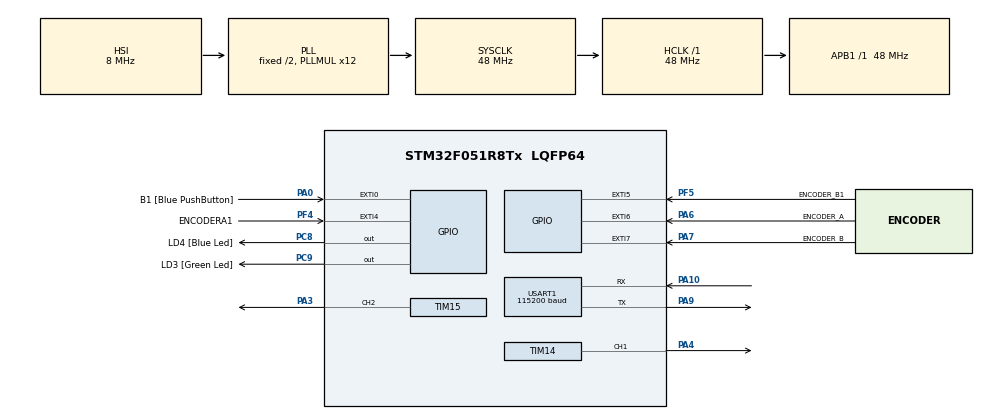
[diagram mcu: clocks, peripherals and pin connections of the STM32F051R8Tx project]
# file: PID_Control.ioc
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Mcu.Family=STM32F0
Mcu.Name=STM32F051R8Tx
Mcu.Package=LQFP64
NVIC.EXTI4_15_IRQn=true\:3\:0\:true\:false\:true
NVIC.TIM6_DAC_IRQn=true\:0\:0\:false\:false\:true
NVIC.USART1_IRQn=true\:0\:0\:false\:false\:true
PA0.GPIO_Label=B1 [Blue PushButton]
PA0.GPIO_ModeDefaultEXTI=GPIO_MODE_EVT_RISING
PA0.Signal=GPXTI0
PA10.Mode=Asynchronous
PA10.Signal=USART1_RX
PA13.GPIO_Label=SWDIO
PA13.Signal=SYS_SWDIO
PA14.GPIO_Label=SWCLK
PA14.Signal=SYS_SWCLK
PA3.Signal=S_TIM15_CH2
PA4.Signal=S_TIM14_CH1
PA6.GPIO_Label=ENCODER_A
PA6.GPIO_ModeDefaultEXTI=GPIO_MODE_IT_RISING_FALLING
PA6.Signal=GPXTI6
PA7.GPIO_Label=ENCODER_B
PA7.GPIO_ModeDefaultEXTI=GPIO_MODE_IT_RISING_FALLING
PA7.Signal=GPXTI7
PA9.Mode=Asynchronous
PA9.Signal=USART1_TX
PC8.GPIO_Label=LD4 [Blue Led]
PC8.Signal=GPIO_Output
PC9.GPIO_Label=LD3 [Green Led]
PC9.Signal=GPIO_Output
PF4.GPIO_Label=ENCODERA1
PF4.GPIO_ModeDefaultEXTI=GPIO_MODE_IT_RISING_FALLING
PF4.Signal=GPXTI4
PF5.GPIO_Label=ENCODER_B1
PF5.GPIO_ModeDefaultEXTI=GPIO_MODE_IT_RISING_FALLING
PF5.Signal=GPXTI5
ProjectManager.HeapSize=0x200
ProjectManager.StackSize=0x400
ProjectManager.TargetToolchain=SW4STM32
RCC.AHBFreq_Value=48000000
RCC.APB1Freq_Value=48000000
RCC.APB1TimFreq_Value=48000000
RCC.HCLKFreq_Value=48000000
RCC.PLLMUL=RCC_PLL_MUL12
RCC.SYSCLKFreq_VALUE=48000000
RCC.SYSCLKSource=RCC_SYSCLKSOURCE_PLLCLK
SH.S_TIM14_CH1.0=TIM14_CH1,PWM Generation1 CH1
SH.S_TIM15_CH2.0=TIM15_CH2,PWM Generation2 CH2
TIM14.Channel=TIM_CHANNEL_1
TIM14.Period=0x08ff
TIM14.Prescaler=0
TIM14.Pulse=0x0
TIM15.Channel-PWM\ Generation2\ CH2=TIM_CHANNEL_2
TIM15.Period=0x8ff
TIM2.Period=0xffffffff
TIM2.Prescaler=47
TIM6.Period=10000
TIM6.Prescaler=47
USART1.BaudRate=115200
USART1.VirtualMode-Asynchronous=VM_ASYNC
VP_TIM14_VS_ClockSourceINT.Mode=Enable_Timer
VP_TIM2_VS_ClockSourceINT.Mode=Internal
VP_TIM6_VS_ClockSourceINT.Mode=Enable_Timer
board=STM32F0DISCOVERY

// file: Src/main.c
/**
  ******************************************************************************
  * File Name          : main.c
  * Description        : Main program body
  ******************************************************************************
  ** This notice applies to any and all portions of this file
  * that are not between comment pairs USER CODE BEGIN and
  * USER CODE END. Other portions of this file, whether
  * inserted by the user or by software development tools
  * are owned by their respective copyright owners.
  *
  * COPYRIGHT(c) 2017 STMicroelectronics
  *
  * Redistribution and use in source and binary forms, with or without modification,
  * are permitted provided that the following conditions are met:
  *   1. Redistributions of source code must retain the above copyright notice,
  *      this list of conditions and the following disclaimer.
  *   2. Redistributions in binary form must reproduce the above copyright notice,
  *      this list of conditions and the following disclaimer in the documentation
  *      and/or other materials provided with the distribution.
  *   3. Neither the name of STMicroelectronics nor the names of its contributors
  *      may be used to endorse or promote products derived from this software
  *      without specific prior written permission.
  *
  * THIS SOFTWARE IS PROVIDED BY THE COPYRIGHT HOLDERS AND CONTRIBUTORS "AS IS"
  * AND ANY EXPRESS OR IMPLIED WARRANTIES, INCLUDING, BUT NOT LIMITED TO, THE
  * IMPLIED WARRANTIES OF MERCHANTABILITY AND FITNESS FOR A PARTICULAR PURPOSE ARE
  * DISCLAIMED. IN NO EVENT SHALL THE COPYRIGHT HOLDER OR CONTRIBUTORS BE LIABLE
  * FOR ANY DIRECT, INDIRECT, INCIDENTAL, SPECIAL, EXEMPLARY, OR CONSEQUENTIAL
  * DAMAGES (INCLUDING, BUT NOT LIMITED TO, PROCUREMENT OF SUBSTITUTE GOODS OR
  * SERVICES; LOSS OF USE, DATA, OR PROFITS; OR BUSINESS INTERRUPTION) HOWEVER
  * CAUSED AND ON ANY THEORY OF LIABILITY, WHETHER IN CONTRACT, STRICT LIABILITY,
  * OR TORT (INCLUDING NEGLIGENCE OR OTHERWISE) ARISING IN ANY WAY OUT OF THE USE
  * OF THIS SOFTWARE, EVEN IF ADVISED OF THE POSSIBILITY OF SUCH DAMAGE.
  *
  ******************************************************************************
  */
#include "main.h"
#include "stm32f0xx_hal.h"
#include "tim.h"
#include "usart.h"
#include "gpio.h"

/* USER CODE BEGIN Includes */
#include <stdbool.h>
#include <stdlib.h>
#include "PuttyInterface.h"
#include "pid.h"
#include "encoder.h"
/* USER CODE END Includes */

/* USER CODE BEGIN PV */
/* Private variables ---------------------------------------------------------*/
#define AMOUNT_OF_MOTORS 4

// print to screen
bool print_time = false;
bool print_encoder = false;
bool print_speed = false;
bool print_dac = false;
bool print_pid = false;
uint32_t prev_tick = 0;// Counter for the frequency at which to report

//values for puttyinterface
uint8_t rec_buf[8];
char small_buf;
bool huart2_Rx_flag = false;

typedef struct{
	encoder_HandleTypeDef* encoder;
	PID_controller_HandleTypeDef* PID;
}motor_HandleTypeDef;// holds an encoder and pid controller that belong together

encoder_HandleTypeDef encoder0 = {
		.CHANNEL = {ENCODER_A_Pin,ENCODER_B_Pin},
		.CHANNEL_Port = {ENCODER_A_GPIO_Port, ENCODER_B_GPIO_Port},
		.MeasurementTimer = &htim2,
		.cnt = {0,0},
		.high = {false, false},
		.direction = 0,
		.period = 0xffff,
		.last_tim_sample = 0xFFFFFFFF,
		.prev_tim_sample = 0,
		.speed = 0.0F,
		.COUNTS_PER_ROTATION = 12.0F,
		.CLK_FREQUENCY = 48000000.0F,
		.GEAR_RATIO = 10.0F,
};
PID_controller_HandleTypeDef pc0 = {
		.pid = {0,0,0},
		.K_terms = {1000.0F, 10.0F, .1F},
		.ref = 0.0F,
		.timestep = 0.0F,
		.actuator = &htim14,
		.actuator_channel = TIM_CHANNEL_1,
		.CallbackTimer = &htim6,
		.CLK_FREQUENCY = 48000000.0F,
		.current_pwm = 0,
};

motor_HandleTypeDef motors[AMOUNT_OF_MOTORS];

/* USER CODE END PV */

void SystemClock_Config(void);

/* USER CODE BEGIN PFP */
/* Private function prototypes -----------------------------------------------*/
void HandleCommand(char * input);

/* USER CODE END PFP */

int main(void)
{

  /* MCU Configuration----------------------------------------------------------*/

  /* Reset of all peripherals, Initializes the Flash interface and the Systick. */
  HAL_Init();

  /* Configure the system clock */
  SystemClock_Config();

  /* Initialize all configured peripherals */
  MX_GPIO_Init();
  MX_USART1_UART_Init();
  MX_TIM2_Init();
  MX_TIM6_Init();
  MX_TIM14_Init();
  MX_TIM15_Init();

  /* USER CODE BEGIN 2 */

  motors[0].PID = &pc0;
  motors[0].encoder = &encoder0;
  pid_Init(motors[0].PID, AMOUNT_OF_MOTORS);
  encoder_Init(motors[0].encoder);

  char * startmessage = "---------------------\n\r";
  uprintf(startmessage);
  HAL_UART_Receive_IT(&huart1, rec_buf, 1);
  /* USER CODE END 2 */

  /* Infinite loop */
  /* USER CODE BEGIN WHILE */
  while (1)
  {
		if(HAL_GetTick() > prev_tick + 100){
			prev_tick = HAL_GetTick();

			if(print_dac){
				uprintf("v_ref = [%f], current_pwm = [%d]\n\r", motors[0].PID->ref, pid_GetCurrentOutput(motors[0].PID));
			}
			if(print_time){
				uprintf("htim2 CNT = [%ld];\n\r", __HAL_TIM_GET_COUNTER(&htim2));
			}
			if(print_encoder){
				uprintf("encoder readings are = [%ld, %ld, %i, %d, %d];\n\r", motors[0].encoder->cnt[0] + motors[0].encoder->cnt[1], motors[0].encoder->period, motors[0].encoder->direction, motors[0].encoder->high[0], motors[0].encoder->high[1]);
			}
			if(print_speed){
				uprintf("encoder speed = [%f];\n\r", encoder_GetLatestSpeed(motors[0].encoder));
			}
			if(print_pid){
				PID pid = pid_GetCurrentPIDValues(motors[0].PID);
				uprintf("PID = [%f, %f, %f]\n\r", pid.P, pid.I, pid.D);
			}
		}

		if(huart2_Rx_flag){
			huart2_Rx_flag = false;
			HandlePcInput(&small_buf, 1, HandleCommand);
			HAL_UART_Receive_IT(&huart1, rec_buf, 1);
		}
  /* USER CODE END WHILE */

  }

}

/** System Clock Configuration
*/
void SystemClock_Config(void)
{

  RCC_OscInitTypeDef RCC_OscInitStruct;
  RCC_ClkInitTypeDef RCC_ClkInitStruct;
  RCC_PeriphCLKInitTypeDef PeriphClkInit;

    /**Initializes the CPU, AHB and APB busses clocks
    */
  RCC_OscInitStruct.OscillatorType = RCC_OSCILLATORTYPE_HSI;
  RCC_OscInitStruct.HSIState = RCC_HSI_ON;
  RCC_OscInitStruct.HSICalibrationValue = 16;
  RCC_OscInitStruct.PLL.PLLState = RCC_PLL_ON;
  RCC_OscInitStruct.PLL.PLLSource = RCC_PLLSOURCE_HSI;
  RCC_OscInitStruct.PLL.PLLMUL = RCC_PLL_MUL12;
  RCC_OscInitStruct.PLL.PREDIV = RCC_PREDIV_DIV1;
  if (HAL_RCC_OscConfig(&RCC_OscInitStruct) != HAL_OK)
  {
    _Error_Handler(__FILE__, __LINE__);
  }

    /**Initializes the CPU, AHB and APB busses clocks
    */
  RCC_ClkInitStruct.ClockType = RCC_CLOCKTYPE_HCLK|RCC_CLOCKTYPE_SYSCLK
                              |RCC_CLOCKTYPE_PCLK1;
  RCC_ClkInitStruct.SYSCLKSource = RCC_SYSCLKSOURCE_PLLCLK;
  RCC_ClkInitStruct.AHBCLKDivider = RCC_SYSCLK_DIV1;
  RCC_ClkInitStruct.APB1CLKDivider = RCC_HCLK_DIV1;

  if (HAL_RCC_ClockConfig(&RCC_ClkInitStruct, FLASH_LATENCY_1) != HAL_OK)
  {
    _Error_Handler(__FILE__, __LINE__);
  }

  PeriphClkInit.PeriphClockSelection = RCC_PERIPHCLK_USART1;
  PeriphClkInit.Usart1ClockSelection = RCC_USART1CLKSOURCE_PCLK1;
  if (HAL_RCCEx_PeriphCLKConfig(&PeriphClkInit) != HAL_OK)
  {
    _Error_Handler(__FILE__, __LINE__);
  }

    /**Configure the Systick interrupt time
    */
  HAL_SYSTICK_Config(HAL_RCC_GetHCLKFreq()/1000);

    /**Configure the Systick
    */
  HAL_SYSTICK_CLKSourceConfig(SYSTICK_CLKSOURCE_HCLK);

  /* SysTick_IRQn interrupt configuration */
  HAL_NVIC_SetPriority(SysTick_IRQn, 0, 0);
}

/* USER CODE BEGIN 4 */
void HandleCommand(char * input){
	HAL_GPIO_TogglePin(LD3_GPIO_Port, LD3_Pin);
	if(!strcmp(input, "time")){
		print_time = !print_time;
	}else if(!strcmp(input, "encoder")){
		print_encoder = !print_encoder;
	}else if(!strcmp(input, "speed")){
		print_speed = !print_speed;
	}else if(!strcmp(input, "pid")){
		print_pid = !print_pid;
	}else if(!memcmp(input, "dac", 3)){
		char * ptr;
		pid_SetOutput(strtol(input+4, &ptr, 10), motors[0].PID);
	}else if(!memcmp(input, "ref", 3)){
		pid_SetReference(atof(input+4), motors[0].PID);
	}else if(!strcmp(input, "printdac")){
		print_dac = !print_dac;
	}else if(!memcmp(input, "set kp", 5)){
		motors[0].PID->K_terms.Kp = atof(input+6);
	}else if(!memcmp(input, "set ki", 5)){
		motors[0].PID->K_terms.Ki = atof(input+6);
	}else if(!memcmp(input, "set kd", 5)){
		motors[0].PID->K_terms.Kd = atof(input+6);
	}
}
void HAL_UART_RxCpltCallback(UART_HandleTypeDef *huart){
	HAL_GPIO_TogglePin(LD4_GPIO_Port, LD4_Pin);
	if(huart->Instance == huart1.Instance){
		huart2_Rx_flag = true;
		small_buf = *(huart->pRxBuffPtr-1);
	}
}

void HAL_GPIO_EXTI_Callback(uint16_t GPIO_Pin)
{
  /* Prevent unused argument(s) compilation warning */
  UNUSED(GPIO_Pin);
  encoder_Input(GPIO_Pin, motors[0].encoder);
}
void HAL_TIM_PeriodElapsedCallback(TIM_HandleTypeDef *htim) {
	static uint32_t motor_ptr = 0;
    pid_Control(encoder_CalculateSpeed(motors[motor_ptr].encoder), motors[motor_ptr].PID);
    motor_ptr = (motor_ptr + 1) % AMOUNT_OF_MOTORS;
}
/* USER CODE END 4 */

void _Error_Handler(char * file, int line)
{
  while(1)
  {
  }
}

/************************ (C) COPYRIGHT STMicroelectronics *****END OF FILE****/
